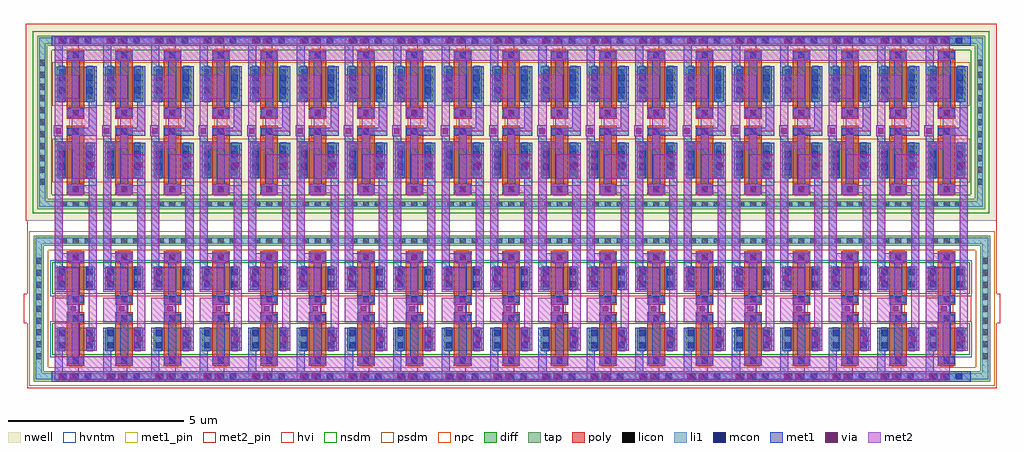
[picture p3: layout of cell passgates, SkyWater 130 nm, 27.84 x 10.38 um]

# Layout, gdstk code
import gdstk
lib = gdstk.Library(unit=1e-6, precision=1e-09)
def R(c, l, rs):  # rectangles x0, y0, x1, y1
    for r in rs: c.add(gdstk.rectangle(r[:2], r[2:], *l))
def A(c, l, x, y, w, h, nx, ny, dx, dy):  # array of equal rectangles
    R(c, l, [(x+i*dx, y+j*dy, x+i*dx+w, y+j*dy+h) for i in range(nx) for j in range(ny)])
nwell = (64, 20)
diff = (65, 20)
tap = (65, 44)
poly = (66, 20)
licon = (66, 44)
li1 = (67, 20)
mcon = (67, 44)
met1_pin = (68, 16)
met1 = (68, 20)
via = (68, 44)
met2_pin = (69, 16)
met2 = (69, 20)
hvi = (75, 20)
nsdm = (93, 44)
psdm = (94, 20)
npc = (95, 20)
hvntm = (125, 20)

passgate_raw = lib.new_cell('passgate_raw')
R(passgate_raw, met1, [(0.59,0.21,1.42,0.44), (0.59,0.44,1.28,0.47), (0.59,0.47,0.82,1.715), (1.075,0.775,1.305,1.965), (1.56,1.065,1.79,1.095), (1.47,1.095,1.79,1.685), (1.56,1.685,1.79,1.715), (0.96,1.965,1.305,2.555), (1.075,2.555,1.305,3.6), (0.59,2.805,0.82,2.835), (1.56,2.805,1.79,6.045), (0.59,2.835,0.91,3.425), (0.59,3.425,0.82,7.17), (0.96,3.6,1.42,3.86), (0.96,5.505,1.42,5.825), (1.075,5.825,1.305,7.19), (1.5,6.045,1.79,6.07), (1.47,6.07,1.79,6.66), (1.56,6.66,1.79,6.99), (0.56,7.17,0.82,7.49), (1.075,7.19,1.79,7.42), (1.56,7.42,1.79,9.17), (0.96,7.715,1.42,7.975), (1.075,7.975,1.305,9.5), (0.59,8.165,0.82,9.76), (0.59,9.76,1.28,9.79), (0.59,9.79,1.42,10.02)])
R(passgate_raw, via, [(0.7,0.265,0.85,0.415), (1.02,0.265,1.17,0.415), (1.555,1.315,1.705,1.465), (1.045,2.185,1.195,2.335), (0.675,3.055,0.825,3.205), (1.115,3.655,1.265,3.805), (1.115,5.59,1.265,5.74), (1.555,6.29,1.705,6.44), (0.615,7.255,0.765,7.405), (1.115,7.77,1.265,7.92), (0.7,9.815,0.85,9.965), (1.02,9.815,1.17,9.965)])
R(passgate_raw, met2_pin, [(0.59,0.21,1.28,0.9), (0.59,1.875,1.28,2.565), (0.59,2.735,1.28,3.425), (1.1,5.965,1.79,6.655), (0.59,9.33,1.28,10.02)])
R(passgate_raw, met2, [(0.59,0.21,1.28,0.9), (1.47,1.065,1.79,1.715), (1.56,1.715,1.79,5.55), (0.59,1.875,1.28,2.565), (0.59,2.735,1.28,3.425), (0.96,3.57,1.42,3.615), (0.59,3.615,1.42,3.845), (0.59,3.845,0.82,6.8), (0.96,3.845,1.42,3.89), (0.96,5.505,1.42,5.55), (0.96,5.55,1.79,5.78), (0.96,5.78,1.42,5.825), (1.1,5.965,1.79,6.66), (0.59,6.8,1.305,7.03), (1.075,7.03,1.305,7.315), (0.56,7.17,0.82,7.49), (1.075,7.315,1.79,7.685), (0.59,7.49,0.82,8.245), (0.96,7.685,1.79,8.005), (0.59,8.245,1.28,8.935), (0.59,9.33,1.28,10.02)])
passgate_raw.add(gdstk.Label('EN', (0.935,2.22), layer=69, texttype=5))
passgate_raw.add(gdstk.Label('UA', (0.935,3.08), layer=69, texttype=5))
passgate_raw.add(gdstk.Label('UB', (1.445,6.31), layer=69, texttype=5))
passgate_raw.add(gdstk.Label('VDD', (0.935,9.675), layer=69, texttype=5))
passgate_raw.add(gdstk.Label('VSS', (0.935,0.555), layer=69, texttype=5))

transistor_quartet_bus_1 = lib.new_cell('transistor_quartet_bus_19')
R(transistor_quartet_bus_1, nwell, [(0,4.77,27.7,10.38)])
A(transistor_quartet_bus_1, diff, 0.89, 1.065, 1.08, 0.65, 19, 2, 1.38, 1.74)
A(transistor_quartet_bus_1, diff, 0.89, 5.985, 1.08, 1, 19, 2, 1.38, 2.18)
R(transistor_quartet_bus_1, tap, [(0.23,0.18,27.52,0.47), (0.23,0.47,0.52,4.05), (27.23,0.47,27.52,4.05), (0.23,4.05,27.52,4.34), (0.33,5.1,27.37,5.39), (0.33,5.39,0.62,9.76), (27.08,5.39,27.37,9.76), (0.33,9.76,27.37,10.05)])
A(transistor_quartet_bus_1, poly, 1.18, 0.625, 0.5, 1.53, 19, 2, 1.38, 1.74)
A(transistor_quartet_bus_1, poly, 1.18, 5.5, 0.5, 1.97, 19, 2, 1.38, 2.18)
A(transistor_quartet_bus_1, licon, 1.005, 0.24, 0.17, 0.17, 3, 2, 0.34, 3.87)
A(transistor_quartet_bus_1, licon, 2.385, 0.24, 0.17, 0.17, 3, 2, 0.34, 3.87)
A(transistor_quartet_bus_1, licon, 3.765, 0.24, 0.17, 0.17, 3, 2, 0.34, 3.87)
A(transistor_quartet_bus_1, licon, 5.145, 0.24, 0.17, 0.17, 3, 2, 0.34, 3.87)
A(transistor_quartet_bus_1, licon, 6.525, 0.24, 0.17, 0.17, 3, 2, 0.34, 3.87)
A(transistor_quartet_bus_1, licon, 7.905, 0.24, 0.17, 0.17, 3, 2, 0.34, 3.87)
A(transistor_quartet_bus_1, licon, 9.285, 0.24, 0.17, 0.17, 3, 2, 0.34, 3.87)
A(transistor_quartet_bus_1, licon, 10.665, 0.24, 0.17, 0.17, 3, 2, 0.34, 3.87)
A(transistor_quartet_bus_1, licon, 12.045, 0.24, 0.17, 0.17, 3, 2, 0.34, 3.87)
A(transistor_quartet_bus_1, licon, 13.425, 0.24, 0.17, 0.17, 3, 2, 0.34, 3.87)
A(transistor_quartet_bus_1, licon, 14.805, 0.24, 0.17, 0.17, 3, 2, 0.34, 3.87)
A(transistor_quartet_bus_1, licon, 16.185, 0.24, 0.17, 0.17, 3, 2, 0.34, 3.87)
A(transistor_quartet_bus_1, licon, 17.565, 0.24, 0.17, 0.17, 3, 2, 0.34, 3.87)
A(transistor_quartet_bus_1, licon, 18.945, 0.24, 0.17, 0.17, 3, 2, 0.34, 3.87)
A(transistor_quartet_bus_1, licon, 20.325, 0.24, 0.17, 0.17, 3, 2, 0.34, 3.87)
A(transistor_quartet_bus_1, licon, 21.705, 0.24, 0.17, 0.17, 3, 2, 0.34, 3.87)
A(transistor_quartet_bus_1, licon, 23.085, 0.24, 0.17, 0.17, 3, 2, 0.34, 3.87)
A(transistor_quartet_bus_1, licon, 24.465, 0.24, 0.17, 0.17, 3, 2, 0.34, 3.87)
A(transistor_quartet_bus_1, licon, 25.845, 0.24, 0.17, 0.17, 3, 2, 0.34, 3.87)
A(transistor_quartet_bus_1, licon, 1.345, 0.705, 0.17, 0.17, 19, 2, 1.38, 1.2)
A(transistor_quartet_bus_1, licon, 0.29, 0.815, 0.17, 0.17, 1, 9, 0, 0.34)
A(transistor_quartet_bus_1, licon, 27.29, 0.815, 0.17, 0.17, 1, 9, 0, 0.34)
A(transistor_quartet_bus_1, licon, 1.345, 2.445, 0.17, 0.17, 19, 2, 1.38, 1.2)
A(transistor_quartet_bus_1, licon, 1.005, 5.16, 0.17, 0.17, 3, 2, 0.34, 4.66)
A(transistor_quartet_bus_1, licon, 2.385, 5.16, 0.17, 0.17, 3, 2, 0.34, 4.66)
A(transistor_quartet_bus_1, licon, 3.765, 5.16, 0.17, 0.17, 3, 2, 0.34, 4.66)
A(transistor_quartet_bus_1, licon, 5.145, 5.16, 0.17, 0.17, 3, 2, 0.34, 4.66)
A(transistor_quartet_bus_1, licon, 6.525, 5.16, 0.17, 0.17, 3, 2, 0.34, 4.66)
A(transistor_quartet_bus_1, licon, 7.905, 5.16, 0.17, 0.17, 3, 2, 0.34, 4.66)
A(transistor_quartet_bus_1, licon, 9.285, 5.16, 0.17, 0.17, 3, 2, 0.34, 4.66)
A(transistor_quartet_bus_1, licon, 10.665, 5.16, 0.17, 0.17, 3, 2, 0.34, 4.66)
A(transistor_quartet_bus_1, licon, 12.045, 5.16, 0.17, 0.17, 3, 2, 0.34, 4.66)
A(transistor_quartet_bus_1, licon, 13.425, 5.16, 0.17, 0.17, 3, 2, 0.34, 4.66)
A(transistor_quartet_bus_1, licon, 14.805, 5.16, 0.17, 0.17, 3, 2, 0.34, 4.66)
A(transistor_quartet_bus_1, licon, 16.185, 5.16, 0.17, 0.17, 3, 2, 0.34, 4.66)
A(transistor_quartet_bus_1, licon, 17.565, 5.16, 0.17, 0.17, 3, 2, 0.34, 4.66)
A(transistor_quartet_bus_1, licon, 18.945, 5.16, 0.17, 0.17, 3, 2, 0.34, 4.66)
A(transistor_quartet_bus_1, licon, 20.325, 5.16, 0.17, 0.17, 3, 2, 0.34, 4.66)
A(transistor_quartet_bus_1, licon, 21.705, 5.16, 0.17, 0.17, 3, 2, 0.34, 4.66)
A(transistor_quartet_bus_1, licon, 23.085, 5.16, 0.17, 0.17, 3, 2, 0.34, 4.66)
A(transistor_quartet_bus_1, licon, 24.465, 5.16, 0.17, 0.17, 3, 2, 0.34, 4.66)
A(transistor_quartet_bus_1, licon, 25.845, 5.16, 0.17, 0.17, 3, 2, 0.34, 4.66)
A(transistor_quartet_bus_1, licon, 1.345, 5.58, 0.17, 0.17, 19, 2, 1.38, 1.64)
A(transistor_quartet_bus_1, licon, 0.39, 5.79, 0.17, 0.17, 1, 11, 0, 0.34)
A(transistor_quartet_bus_1, licon, 27.14, 5.79, 0.17, 0.17, 1, 11, 0, 0.34)
A(transistor_quartet_bus_1, licon, 0.95, 6.06, 0.17, 0.17, 1, 3, 0, 0.34)
A(transistor_quartet_bus_1, licon, 1.74, 6.06, 0.17, 0.17, 1, 3, 0, 0.34)
A(transistor_quartet_bus_1, licon, 2.33, 6.06, 0.17, 0.17, 1, 3, 0, 0.34)
A(transistor_quartet_bus_1, licon, 3.12, 6.06, 0.17, 0.17, 1, 3, 0, 0.34)
A(transistor_quartet_bus_1, licon, 3.71, 6.06, 0.17, 0.17, 1, 3, 0, 0.34)
A(transistor_quartet_bus_1, licon, 4.5, 6.06, 0.17, 0.17, 1, 3, 0, 0.34)
A(transistor_quartet_bus_1, licon, 5.09, 6.06, 0.17, 0.17, 1, 3, 0, 0.34)
A(transistor_quartet_bus_1, licon, 5.88, 6.06, 0.17, 0.17, 1, 3, 0, 0.34)
A(transistor_quartet_bus_1, licon, 6.47, 6.06, 0.17, 0.17, 1, 3, 0, 0.34)
A(transistor_quartet_bus_1, licon, 7.26, 6.06, 0.17, 0.17, 1, 3, 0, 0.34)
A(transistor_quartet_bus_1, licon, 7.85, 6.06, 0.17, 0.17, 1, 3, 0, 0.34)
A(transistor_quartet_bus_1, licon, 8.64, 6.06, 0.17, 0.17, 1, 3, 0, 0.34)
A(transistor_quartet_bus_1, licon, 9.23, 6.06, 0.17, 0.17, 1, 3, 0, 0.34)
A(transistor_quartet_bus_1, licon, 10.02, 6.06, 0.17, 0.17, 1, 3, 0, 0.34)
A(transistor_quartet_bus_1, licon, 10.61, 6.06, 0.17, 0.17, 1, 3, 0, 0.34)
A(transistor_quartet_bus_1, licon, 11.4, 6.06, 0.17, 0.17, 1, 3, 0, 0.34)
A(transistor_quartet_bus_1, licon, 11.99, 6.06, 0.17, 0.17, 1, 3, 0, 0.34)
A(transistor_quartet_bus_1, licon, 12.78, 6.06, 0.17, 0.17, 1, 3, 0, 0.34)
A(transistor_quartet_bus_1, licon, 13.37, 6.06, 0.17, 0.17, 1, 3, 0, 0.34)
A(transistor_quartet_bus_1, licon, 14.16, 6.06, 0.17, 0.17, 1, 3, 0, 0.34)
A(transistor_quartet_bus_1, licon, 14.75, 6.06, 0.17, 0.17, 1, 3, 0, 0.34)
A(transistor_quartet_bus_1, licon, 15.54, 6.06, 0.17, 0.17, 1, 3, 0, 0.34)
A(transistor_quartet_bus_1, licon, 16.13, 6.06, 0.17, 0.17, 1, 3, 0, 0.34)
A(transistor_quartet_bus_1, licon, 16.92, 6.06, 0.17, 0.17, 1, 3, 0, 0.34)
A(transistor_quartet_bus_1, licon, 17.51, 6.06, 0.17, 0.17, 1, 3, 0, 0.34)
A(transistor_quartet_bus_1, licon, 18.3, 6.06, 0.17, 0.17, 1, 3, 0, 0.34)
A(transistor_quartet_bus_1, licon, 18.89, 6.06, 0.17, 0.17, 1, 3, 0, 0.34)
A(transistor_quartet_bus_1, licon, 19.68, 6.06, 0.17, 0.17, 1, 3, 0, 0.34)
A(transistor_quartet_bus_1, licon, 20.27, 6.06, 0.17, 0.17, 1, 3, 0, 0.34)
A(transistor_quartet_bus_1, licon, 21.06, 6.06, 0.17, 0.17, 1, 3, 0, 0.34)
A(transistor_quartet_bus_1, licon, 21.65, 6.06, 0.17, 0.17, 1, 3, 0, 0.34)
A(transistor_quartet_bus_1, licon, 22.44, 6.06, 0.17, 0.17, 1, 3, 0, 0.34)
A(transistor_quartet_bus_1, licon, 23.03, 6.06, 0.17, 0.17, 1, 3, 0, 0.34)
A(transistor_quartet_bus_1, licon, 23.82, 6.06, 0.17, 0.17, 1, 3, 0, 0.34)
A(transistor_quartet_bus_1, licon, 24.41, 6.06, 0.17, 0.17, 1, 3, 0, 0.34)
A(transistor_quartet_bus_1, licon, 25.2, 6.06, 0.17, 0.17, 1, 3, 0, 0.34)
A(transistor_quartet_bus_1, licon, 25.79, 6.06, 0.17, 0.17, 1, 3, 0, 0.34)
A(transistor_quartet_bus_1, licon, 26.58, 6.06, 0.17, 0.17, 1, 3, 0, 0.34)
A(transistor_quartet_bus_1, licon, 1.345, 7.76, 0.17, 0.17, 19, 2, 1.38, 1.64)
A(transistor_quartet_bus_1, licon, 0.95, 8.24, 0.17, 0.17, 1, 3, 0, 0.34)
A(transistor_quartet_bus_1, licon, 1.74, 8.24, 0.17, 0.17, 1, 3, 0, 0.34)
A(transistor_quartet_bus_1, licon, 2.33, 8.24, 0.17, 0.17, 1, 3, 0, 0.34)
A(transistor_quartet_bus_1, licon, 3.12, 8.24, 0.17, 0.17, 1, 3, 0, 0.34)
A(transistor_quartet_bus_1, licon, 3.71, 8.24, 0.17, 0.17, 1, 3, 0, 0.34)
A(transistor_quartet_bus_1, licon, 4.5, 8.24, 0.17, 0.17, 1, 3, 0, 0.34)
A(transistor_quartet_bus_1, licon, 5.09, 8.24, 0.17, 0.17, 1, 3, 0, 0.34)
A(transistor_quartet_bus_1, licon, 5.88, 8.24, 0.17, 0.17, 1, 3, 0, 0.34)
A(transistor_quartet_bus_1, licon, 6.47, 8.24, 0.17, 0.17, 1, 3, 0, 0.34)
A(transistor_quartet_bus_1, licon, 7.26, 8.24, 0.17, 0.17, 1, 3, 0, 0.34)
A(transistor_quartet_bus_1, licon, 7.85, 8.24, 0.17, 0.17, 1, 3, 0, 0.34)
A(transistor_quartet_bus_1, licon, 8.64, 8.24, 0.17, 0.17, 1, 3, 0, 0.34)
A(transistor_quartet_bus_1, licon, 9.23, 8.24, 0.17, 0.17, 1, 3, 0, 0.34)
A(transistor_quartet_bus_1, licon, 10.02, 8.24, 0.17, 0.17, 1, 3, 0, 0.34)
A(transistor_quartet_bus_1, licon, 10.61, 8.24, 0.17, 0.17, 1, 3, 0, 0.34)
A(transistor_quartet_bus_1, licon, 11.4, 8.24, 0.17, 0.17, 1, 3, 0, 0.34)
A(transistor_quartet_bus_1, licon, 11.99, 8.24, 0.17, 0.17, 1, 3, 0, 0.34)
A(transistor_quartet_bus_1, licon, 12.78, 8.24, 0.17, 0.17, 1, 3, 0, 0.34)
A(transistor_quartet_bus_1, licon, 13.37, 8.24, 0.17, 0.17, 1, 3, 0, 0.34)
A(transistor_quartet_bus_1, licon, 14.16, 8.24, 0.17, 0.17, 1, 3, 0, 0.34)
A(transistor_quartet_bus_1, licon, 14.75, 8.24, 0.17, 0.17, 1, 3, 0, 0.34)
A(transistor_quartet_bus_1, licon, 15.54, 8.24, 0.17, 0.17, 1, 3, 0, 0.34)
A(transistor_quartet_bus_1, licon, 16.13, 8.24, 0.17, 0.17, 1, 3, 0, 0.34)
A(transistor_quartet_bus_1, licon, 16.92, 8.24, 0.17, 0.17, 1, 3, 0, 0.34)
A(transistor_quartet_bus_1, licon, 17.51, 8.24, 0.17, 0.17, 1, 3, 0, 0.34)
A(transistor_quartet_bus_1, licon, 18.3, 8.24, 0.17, 0.17, 1, 3, 0, 0.34)
A(transistor_quartet_bus_1, licon, 18.89, 8.24, 0.17, 0.17, 1, 3, 0, 0.34)
A(transistor_quartet_bus_1, licon, 19.68, 8.24, 0.17, 0.17, 1, 3, 0, 0.34)
A(transistor_quartet_bus_1, licon, 20.27, 8.24, 0.17, 0.17, 1, 3, 0, 0.34)
A(transistor_quartet_bus_1, licon, 21.06, 8.24, 0.17, 0.17, 1, 3, 0, 0.34)
A(transistor_quartet_bus_1, licon, 21.65, 8.24, 0.17, 0.17, 1, 3, 0, 0.34)
A(transistor_quartet_bus_1, licon, 22.44, 8.24, 0.17, 0.17, 1, 3, 0, 0.34)
A(transistor_quartet_bus_1, licon, 23.03, 8.24, 0.17, 0.17, 1, 3, 0, 0.34)
A(transistor_quartet_bus_1, licon, 23.82, 8.24, 0.17, 0.17, 1, 3, 0, 0.34)
A(transistor_quartet_bus_1, licon, 24.41, 8.24, 0.17, 0.17, 1, 3, 0, 0.34)
A(transistor_quartet_bus_1, licon, 25.2, 8.24, 0.17, 0.17, 1, 3, 0, 0.34)
A(transistor_quartet_bus_1, licon, 25.79, 8.24, 0.17, 0.17, 1, 3, 0, 0.34)
A(transistor_quartet_bus_1, licon, 26.58, 8.24, 0.17, 0.17, 1, 3, 0, 0.34)
R(transistor_quartet_bus_1, licon, [(0.95,1.135,1.12,1.305), (1.74,1.135,1.91,1.305), (2.33,1.135,2.5,1.305), (3.12,1.135,3.29,1.305), (3.71,1.135,3.88,1.305), (4.5,1.135,4.67,1.305), (5.09,1.135,5.26,1.305), (5.88,1.135,6.05,1.305), (6.47,1.135,6.64,1.305), (7.26,1.135,7.43,1.305), (7.85,1.135,8.02,1.305), (8.64,1.135,8.81,1.305), (9.23,1.135,9.4,1.305), (10.02,1.135,10.19,1.305), (10.61,1.135,10.78,1.305), (11.4,1.135,11.57,1.305), (11.99,1.135,12.16,1.305), (12.78,1.135,12.95,1.305), (13.37,1.135,13.54,1.305), (14.16,1.135,14.33,1.305), (14.75,1.135,14.92,1.305), (15.54,1.135,15.71,1.305), (16.13,1.135,16.3,1.305), (16.92,1.135,17.09,1.305), (17.51,1.135,17.68,1.305), (18.3,1.135,18.47,1.305), (18.89,1.135,19.06,1.305), (19.68,1.135,19.85,1.305), (20.27,1.135,20.44,1.305), (21.06,1.135,21.23,1.305), (21.65,1.135,21.82,1.305), (22.44,1.135,22.61,1.305), (23.03,1.135,23.2,1.305), (23.82,1.135,23.99,1.305), (24.41,1.135,24.58,1.305), (25.2,1.135,25.37,1.305), (25.79,1.135,25.96,1.305), (26.58,1.135,26.75,1.305), (0.95,1.475,1.12,1.645), (1.74,1.475,1.91,1.645), (2.33,1.475,2.5,1.645), (3.12,1.475,3.29,1.645), (3.71,1.475,3.88,1.645), (4.5,1.475,4.67,1.645), (5.09,1.475,5.26,1.645), (5.88,1.475,6.05,1.645), (6.47,1.475,6.64,1.645), (7.26,1.475,7.43,1.645), (7.85,1.475,8.02,1.645), (8.64,1.475,8.81,1.645), (9.23,1.475,9.4,1.645), (10.02,1.475,10.19,1.645), (10.61,1.475,10.78,1.645), (11.4,1.475,11.57,1.645), (11.99,1.475,12.16,1.645), (12.78,1.475,12.95,1.645), (13.37,1.475,13.54,1.645), (14.16,1.475,14.33,1.645), (14.75,1.475,14.92,1.645), (15.54,1.475,15.71,1.645), (16.13,1.475,16.3,1.645), (16.92,1.475,17.09,1.645), (17.51,1.475,17.68,1.645), (18.3,1.475,18.47,1.645), (18.89,1.475,19.06,1.645), (19.68,1.475,19.85,1.645), (20.27,1.475,20.44,1.645), (21.06,1.475,21.23,1.645), (21.65,1.475,21.82,1.645), (22.44,1.475,22.61,1.645), (23.03,1.475,23.2,1.645), (23.82,1.475,23.99,1.645), (24.41,1.475,24.58,1.645), (25.2,1.475,25.37,1.645), (25.79,1.475,25.96,1.645), (26.58,1.475,26.75,1.645), (0.95,2.875,1.12,3.045), (1.74,2.875,1.91,3.045), (2.33,2.875,2.5,3.045), (3.12,2.875,3.29,3.045), (3.71,2.875,3.88,3.045), (4.5,2.875,4.67,3.045), (5.09,2.875,5.26,3.045), (5.88,2.875,6.05,3.045), (6.47,2.875,6.64,3.045), (7.26,2.875,7.43,3.045), (7.85,2.875,8.02,3.045), (8.64,2.875,8.81,3.045), (9.23,2.875,9.4,3.045), (10.02,2.875,10.19,3.045), (10.61,2.875,10.78,3.045), (11.4,2.875,11.57,3.045), (11.99,2.875,12.16,3.045), (12.78,2.875,12.95,3.045), (13.37,2.875,13.54,3.045), (14.16,2.875,14.33,3.045), (14.75,2.875,14.92,3.045), (15.54,2.875,15.71,3.045), (16.13,2.875,16.3,3.045), (16.92,2.875,17.09,3.045), (17.51,2.875,17.68,3.045), (18.3,2.875,18.47,3.045), (18.89,2.875,19.06,3.045), (19.68,2.875,19.85,3.045), (20.27,2.875,20.44,3.045), (21.06,2.875,21.23,3.045), (21.65,2.875,21.82,3.045), (22.44,2.875,22.61,3.045), (23.03,2.875,23.2,3.045), (23.82,2.875,23.99,3.045), (24.41,2.875,24.58,3.045), (25.2,2.875,25.37,3.045), (25.79,2.875,25.96,3.045), (26.58,2.875,26.75,3.045), (0.95,3.215,1.12,3.385), (1.74,3.215,1.91,3.385), (2.33,3.215,2.5,3.385), (3.12,3.215,3.29,3.385), (3.71,3.215,3.88,3.385), (4.5,3.215,4.67,3.385), (5.09,3.215,5.26,3.385), (5.88,3.215,6.05,3.385), (6.47,3.215,6.64,3.385), (7.26,3.215,7.43,3.385), (7.85,3.215,8.02,3.385), (8.64,3.215,8.81,3.385), (9.23,3.215,9.4,3.385), (10.02,3.215,10.19,3.385), (10.61,3.215,10.78,3.385), (11.4,3.215,11.57,3.385), (11.99,3.215,12.16,3.385), (12.78,3.215,12.95,3.385), (13.37,3.215,13.54,3.385), (14.16,3.215,14.33,3.385), (14.75,3.215,14.92,3.385), (15.54,3.215,15.71,3.385), (16.13,3.215,16.3,3.385), (16.92,3.215,17.09,3.385), (17.51,3.215,17.68,3.385), (18.3,3.215,18.47,3.385), (18.89,3.215,19.06,3.385), (19.68,3.215,19.85,3.385), (20.27,3.215,20.44,3.385), (21.06,3.215,21.23,3.385), (21.65,3.215,21.82,3.385), (22.44,3.215,22.61,3.385), (23.03,3.215,23.2,3.385), (23.82,3.215,23.99,3.385), (24.41,3.215,24.58,3.385), (25.2,3.215,25.37,3.385), (25.79,3.215,25.96,3.385), (26.58,3.215,26.75,3.385)])
A(transistor_quartet_bus_1, li1, 1.18, 0.705, 0.5, 0.17, 19, 2, 1.38, 1.2)
A(transistor_quartet_bus_1, li1, 1.18, 2.445, 0.5, 0.17, 19, 2, 1.38, 1.2)
A(transistor_quartet_bus_1, li1, 1.18, 5.58, 0.5, 0.17, 19, 2, 1.38, 1.64)
A(transistor_quartet_bus_1, li1, 1.18, 7.76, 0.5, 0.17, 19, 2, 1.38, 1.64)
R(transistor_quartet_bus_1, li1, [(0.29,0.24,27.46,0.41), (0.29,0.41,0.46,4.11), (27.29,0.41,27.46,4.11), (0.95,1.045,1.12,1.735), (1.74,1.045,1.91,1.735), (2.33,1.045,2.5,1.735), (3.12,1.045,3.29,1.735), (3.71,1.045,3.88,1.735), (4.5,1.045,4.67,1.735), (5.09,1.045,5.26,1.735), (5.88,1.045,6.05,1.735), (6.47,1.045,6.64,1.735), (7.26,1.045,7.43,1.735), (7.85,1.045,8.02,1.735), (8.64,1.045,8.81,1.735), (9.23,1.045,9.4,1.735), (10.02,1.045,10.19,1.735), (10.61,1.045,10.78,1.735), (11.4,1.045,11.57,1.735), (11.99,1.045,12.16,1.735), (12.78,1.045,12.95,1.735), (13.37,1.045,13.54,1.735), (14.16,1.045,14.33,1.735), (14.75,1.045,14.92,1.735), (15.54,1.045,15.71,1.735), (16.13,1.045,16.3,1.735), (16.92,1.045,17.09,1.735), (17.51,1.045,17.68,1.735), (18.3,1.045,18.47,1.735), (18.89,1.045,19.06,1.735), (19.68,1.045,19.85,1.735), (20.27,1.045,20.44,1.735), (21.06,1.045,21.23,1.735), (21.65,1.045,21.82,1.735), (22.44,1.045,22.61,1.735), (23.03,1.045,23.2,1.735), (23.82,1.045,23.99,1.735), (24.41,1.045,24.58,1.735), (25.2,1.045,25.37,1.735), (25.79,1.045,25.96,1.735), (26.58,1.045,26.75,1.735), (0.95,2.785,1.12,3.475), (1.74,2.785,1.91,3.475), (2.33,2.785,2.5,3.475), (3.12,2.785,3.29,3.475), (3.71,2.785,3.88,3.475), (4.5,2.785,4.67,3.475), (5.09,2.785,5.26,3.475), (5.88,2.785,6.05,3.475), (6.47,2.785,6.64,3.475), (7.26,2.785,7.43,3.475), (7.85,2.785,8.02,3.475), (8.64,2.785,8.81,3.475), (9.23,2.785,9.4,3.475), (10.02,2.785,10.19,3.475), (10.61,2.785,10.78,3.475), (11.4,2.785,11.57,3.475), (11.99,2.785,12.16,3.475), (12.78,2.785,12.95,3.475), (13.37,2.785,13.54,3.475), (14.16,2.785,14.33,3.475), (14.75,2.785,14.92,3.475), (15.54,2.785,15.71,3.475), (16.13,2.785,16.3,3.475), (16.92,2.785,17.09,3.475), (17.51,2.785,17.68,3.475), (18.3,2.785,18.47,3.475), (18.89,2.785,19.06,3.475), (19.68,2.785,19.85,3.475), (20.27,2.785,20.44,3.475), (21.06,2.785,21.23,3.475), (21.65,2.785,21.82,3.475), (22.44,2.785,22.61,3.475), (23.03,2.785,23.2,3.475), (23.82,2.785,23.99,3.475), (24.41,2.785,24.58,3.475), (25.2,2.785,25.37,3.475), (25.79,2.785,25.96,3.475), (26.58,2.785,26.75,3.475), (0.29,4.11,27.46,4.28), (0.39,5.16,27.31,5.33), (0.39,5.33,0.56,9.82), (27.14,5.33,27.31,9.82), (0.95,5.965,1.12,7.005), (1.74,5.965,1.91,7.005), (2.33,5.965,2.5,7.005), (3.12,5.965,3.29,7.005), (3.71,5.965,3.88,7.005), (4.5,5.965,4.67,7.005), (5.09,5.965,5.26,7.005), (5.88,5.965,6.05,7.005), (6.47,5.965,6.64,7.005), (7.26,5.965,7.43,7.005), (7.85,5.965,8.02,7.005), (8.64,5.965,8.81,7.005), (9.23,5.965,9.4,7.005), (10.02,5.965,10.19,7.005), (10.61,5.965,10.78,7.005), (11.4,5.965,11.57,7.005), (11.99,5.965,12.16,7.005), (12.78,5.965,12.95,7.005), (13.37,5.965,13.54,7.005), (14.16,5.965,14.33,7.005), (14.75,5.965,14.92,7.005), (15.54,5.965,15.71,7.005), (16.13,5.965,16.3,7.005), (16.92,5.965,17.09,7.005), (17.51,5.965,17.68,7.005), (18.3,5.965,18.47,7.005), (18.89,5.965,19.06,7.005), (19.68,5.965,19.85,7.005), (20.27,5.965,20.44,7.005), (21.06,5.965,21.23,7.005), (21.65,5.965,21.82,7.005), (22.44,5.965,22.61,7.005), (23.03,5.965,23.2,7.005), (23.82,5.965,23.99,7.005), (24.41,5.965,24.58,7.005), (25.2,5.965,25.37,7.005), (25.79,5.965,25.96,7.005), (26.58,5.965,26.75,7.005), (0.95,8.145,1.12,9.185), (1.74,8.145,1.91,9.185), (2.33,8.145,2.5,9.185), (3.12,8.145,3.29,9.185), (3.71,8.145,3.88,9.185), (4.5,8.145,4.67,9.185), (5.09,8.145,5.26,9.185), (5.88,8.145,6.05,9.185), (6.47,8.145,6.64,9.185), (7.26,8.145,7.43,9.185), (7.85,8.145,8.02,9.185), (8.64,8.145,8.81,9.185), (9.23,8.145,9.4,9.185), (10.02,8.145,10.19,9.185), (10.61,8.145,10.78,9.185), (11.4,8.145,11.57,9.185), (11.99,8.145,12.16,9.185), (12.78,8.145,12.95,9.185), (13.37,8.145,13.54,9.185), (14.16,8.145,14.33,9.185), (14.75,8.145,14.92,9.185), (15.54,8.145,15.71,9.185), (16.13,8.145,16.3,9.185), (16.92,8.145,17.09,9.185), (17.51,8.145,17.68,9.185), (18.3,8.145,18.47,9.185), (18.89,8.145,19.06,9.185), (19.68,8.145,19.85,9.185), (20.27,8.145,20.44,9.185), (21.06,8.145,21.23,9.185), (21.65,8.145,21.82,9.185), (22.44,8.145,22.61,9.185), (23.03,8.145,23.2,9.185), (23.82,8.145,23.99,9.185), (24.41,8.145,24.58,9.185), (25.2,8.145,25.37,9.185), (25.79,8.145,25.96,9.185), (26.58,8.145,26.75,9.185), (0.39,9.82,27.31,9.99)])
A(transistor_quartet_bus_1, mcon, 0.985, 0.24, 0.17, 0.17, 3, 2, 0.36, 9.58)
A(transistor_quartet_bus_1, mcon, 2.365, 0.24, 0.17, 0.17, 3, 2, 0.36, 9.58)
A(transistor_quartet_bus_1, mcon, 3.745, 0.24, 0.17, 0.17, 3, 2, 0.36, 9.58)
A(transistor_quartet_bus_1, mcon, 5.125, 0.24, 0.17, 0.17, 3, 2, 0.36, 9.58)
A(transistor_quartet_bus_1, mcon, 6.505, 0.24, 0.17, 0.17, 3, 2, 0.36, 9.58)
A(transistor_quartet_bus_1, mcon, 7.885, 0.24, 0.17, 0.17, 3, 2, 0.36, 9.58)
A(transistor_quartet_bus_1, mcon, 9.265, 0.24, 0.17, 0.17, 3, 2, 0.36, 9.58)
A(transistor_quartet_bus_1, mcon, 10.645, 0.24, 0.17, 0.17, 3, 2, 0.36, 9.58)
A(transistor_quartet_bus_1, mcon, 12.025, 0.24, 0.17, 0.17, 3, 2, 0.36, 9.58)
A(transistor_quartet_bus_1, mcon, 13.405, 0.24, 0.17, 0.17, 3, 2, 0.36, 9.58)
A(transistor_quartet_bus_1, mcon, 14.785, 0.24, 0.17, 0.17, 3, 2, 0.36, 9.58)
A(transistor_quartet_bus_1, mcon, 16.165, 0.24, 0.17, 0.17, 3, 2, 0.36, 9.58)
A(transistor_quartet_bus_1, mcon, 17.545, 0.24, 0.17, 0.17, 3, 2, 0.36, 9.58)
A(transistor_quartet_bus_1, mcon, 18.925, 0.24, 0.17, 0.17, 3, 2, 0.36, 9.58)
A(transistor_quartet_bus_1, mcon, 20.305, 0.24, 0.17, 0.17, 3, 2, 0.36, 9.58)
A(transistor_quartet_bus_1, mcon, 21.685, 0.24, 0.17, 0.17, 3, 2, 0.36, 9.58)
A(transistor_quartet_bus_1, mcon, 23.065, 0.24, 0.17, 0.17, 3, 2, 0.36, 9.58)
A(transistor_quartet_bus_1, mcon, 24.445, 0.24, 0.17, 0.17, 3, 2, 0.36, 9.58)
A(transistor_quartet_bus_1, mcon, 25.825, 0.24, 0.17, 0.17, 3, 2, 0.36, 9.58)
A(transistor_quartet_bus_1, mcon, 1.345, 0.705, 0.17, 0.17, 19, 2, 1.38, 1.2)
A(transistor_quartet_bus_1, mcon, 1.345, 2.445, 0.17, 0.17, 19, 2, 1.38, 1.2)
A(transistor_quartet_bus_1, mcon, 1.345, 5.58, 0.17, 0.17, 19, 2, 1.38, 1.64)
A(transistor_quartet_bus_1, mcon, 1.345, 7.76, 0.17, 0.17, 19, 2, 1.38, 1.64)
R(transistor_quartet_bus_1, mcon, [(0.95,1.125,1.12,1.295), (1.74,1.125,1.91,1.295), (2.33,1.125,2.5,1.295), (3.12,1.125,3.29,1.295), (3.71,1.125,3.88,1.295), (4.5,1.125,4.67,1.295), (5.09,1.125,5.26,1.295), (5.88,1.125,6.05,1.295), (6.47,1.125,6.64,1.295), (7.26,1.125,7.43,1.295), (7.85,1.125,8.02,1.295), (8.64,1.125,8.81,1.295), (9.23,1.125,9.4,1.295), (10.02,1.125,10.19,1.295), (10.61,1.125,10.78,1.295), (11.4,1.125,11.57,1.295), (11.99,1.125,12.16,1.295), (12.78,1.125,12.95,1.295), (13.37,1.125,13.54,1.295), (14.16,1.125,14.33,1.295), (14.75,1.125,14.92,1.295), (15.54,1.125,15.71,1.295), (16.13,1.125,16.3,1.295), (16.92,1.125,17.09,1.295), (17.51,1.125,17.68,1.295), (18.3,1.125,18.47,1.295), (18.89,1.125,19.06,1.295), (19.68,1.125,19.85,1.295), (20.27,1.125,20.44,1.295), (21.06,1.125,21.23,1.295), (21.65,1.125,21.82,1.295), (22.44,1.125,22.61,1.295), (23.03,1.125,23.2,1.295), (23.82,1.125,23.99,1.295), (24.41,1.125,24.58,1.295), (25.2,1.125,25.37,1.295), (25.79,1.125,25.96,1.295), (26.58,1.125,26.75,1.295), (0.95,1.485,1.12,1.655), (1.74,1.485,1.91,1.655), (2.33,1.485,2.5,1.655), (3.12,1.485,3.29,1.655), (3.71,1.485,3.88,1.655), (4.5,1.485,4.67,1.655), (5.09,1.485,5.26,1.655), (5.88,1.485,6.05,1.655), (6.47,1.485,6.64,1.655), (7.26,1.485,7.43,1.655), (7.85,1.485,8.02,1.655), (8.64,1.485,8.81,1.655), (9.23,1.485,9.4,1.655), (10.02,1.485,10.19,1.655), (10.61,1.485,10.78,1.655), (11.4,1.485,11.57,1.655), (11.99,1.485,12.16,1.655), (12.78,1.485,12.95,1.655), (13.37,1.485,13.54,1.655), (14.16,1.485,14.33,1.655), (14.75,1.485,14.92,1.655), (15.54,1.485,15.71,1.655), (16.13,1.485,16.3,1.655), (16.92,1.485,17.09,1.655), (17.51,1.485,17.68,1.655), (18.3,1.485,18.47,1.655), (18.89,1.485,19.06,1.655), (19.68,1.485,19.85,1.655), (20.27,1.485,20.44,1.655), (21.06,1.485,21.23,1.655), (21.65,1.485,21.82,1.655), (22.44,1.485,22.61,1.655), (23.03,1.485,23.2,1.655), (23.82,1.485,23.99,1.655), (24.41,1.485,24.58,1.655), (25.2,1.485,25.37,1.655), (25.79,1.485,25.96,1.655), (26.58,1.485,26.75,1.655), (0.95,2.865,1.12,3.035), (1.74,2.865,1.91,3.035), (2.33,2.865,2.5,3.035), (3.12,2.865,3.29,3.035), (3.71,2.865,3.88,3.035), (4.5,2.865,4.67,3.035), (5.09,2.865,5.26,3.035), (5.88,2.865,6.05,3.035), (6.47,2.865,6.64,3.035), (7.26,2.865,7.43,3.035), (7.85,2.865,8.02,3.035), (8.64,2.865,8.81,3.035), (9.23,2.865,9.4,3.035), (10.02,2.865,10.19,3.035), (10.61,2.865,10.78,3.035), (11.4,2.865,11.57,3.035), (11.99,2.865,12.16,3.035), (12.78,2.865,12.95,3.035), (13.37,2.865,13.54,3.035), (14.16,2.865,14.33,3.035), (14.75,2.865,14.92,3.035), (15.54,2.865,15.71,3.035), (16.13,2.865,16.3,3.035), (16.92,2.865,17.09,3.035), (17.51,2.865,17.68,3.035), (18.3,2.865,18.47,3.035), (18.89,2.865,19.06,3.035), (19.68,2.865,19.85,3.035), (20.27,2.865,20.44,3.035), (21.06,2.865,21.23,3.035), (21.65,2.865,21.82,3.035), (22.44,2.865,22.61,3.035), (23.03,2.865,23.2,3.035), (23.82,2.865,23.99,3.035), (24.41,2.865,24.58,3.035), (25.2,2.865,25.37,3.035), (25.79,2.865,25.96,3.035), (26.58,2.865,26.75,3.035), (0.95,3.225,1.12,3.395), (1.74,3.225,1.91,3.395), (2.33,3.225,2.5,3.395), (3.12,3.225,3.29,3.395), (3.71,3.225,3.88,3.395), (4.5,3.225,4.67,3.395), (5.09,3.225,5.26,3.395), (5.88,3.225,6.05,3.395), (6.47,3.225,6.64,3.395), (7.26,3.225,7.43,3.395), (7.85,3.225,8.02,3.395), (8.64,3.225,8.81,3.395), (9.23,3.225,9.4,3.395), (10.02,3.225,10.19,3.395), (10.61,3.225,10.78,3.395), (11.4,3.225,11.57,3.395), (11.99,3.225,12.16,3.395), (12.78,3.225,12.95,3.395), (13.37,3.225,13.54,3.395), (14.16,3.225,14.33,3.395), (14.75,3.225,14.92,3.395), (15.54,3.225,15.71,3.395), (16.13,3.225,16.3,3.395), (16.92,3.225,17.09,3.395), (17.51,3.225,17.68,3.395), (18.3,3.225,18.47,3.395), (18.89,3.225,19.06,3.395), (19.68,3.225,19.85,3.395), (20.27,3.225,20.44,3.395), (21.06,3.225,21.23,3.395), (21.65,3.225,21.82,3.395), (22.44,3.225,22.61,3.395), (23.03,3.225,23.2,3.395), (23.82,3.225,23.99,3.395), (24.41,3.225,24.58,3.395), (25.2,3.225,25.37,3.395), (25.79,3.225,25.96,3.395), (26.58,3.225,26.75,3.395), (0.95,6.22,1.12,6.39), (1.74,6.22,1.91,6.39), (2.33,6.22,2.5,6.39), (3.12,6.22,3.29,6.39), (3.71,6.22,3.88,6.39), (4.5,6.22,4.67,6.39), (5.09,6.22,5.26,6.39), (5.88,6.22,6.05,6.39), (6.47,6.22,6.64,6.39), (7.26,6.22,7.43,6.39), (7.85,6.22,8.02,6.39), (8.64,6.22,8.81,6.39), (9.23,6.22,9.4,6.39), (10.02,6.22,10.19,6.39), (10.61,6.22,10.78,6.39), (11.4,6.22,11.57,6.39), (11.99,6.22,12.16,6.39), (12.78,6.22,12.95,6.39), (13.37,6.22,13.54,6.39), (14.16,6.22,14.33,6.39), (14.75,6.22,14.92,6.39), (15.54,6.22,15.71,6.39), (16.13,6.22,16.3,6.39), (16.92,6.22,17.09,6.39), (17.51,6.22,17.68,6.39), (18.3,6.22,18.47,6.39), (18.89,6.22,19.06,6.39), (19.68,6.22,19.85,6.39), (20.27,6.22,20.44,6.39), (21.06,6.22,21.23,6.39), (21.65,6.22,21.82,6.39), (22.44,6.22,22.61,6.39), (23.03,6.22,23.2,6.39), (23.82,6.22,23.99,6.39), (24.41,6.22,24.58,6.39), (25.2,6.22,25.37,6.39), (25.79,6.22,25.96,6.39), (26.58,6.22,26.75,6.39), (0.95,6.58,1.12,6.75), (1.74,6.58,1.91,6.75), (2.33,6.58,2.5,6.75), (3.12,6.58,3.29,6.75), (3.71,6.58,3.88,6.75), (4.5,6.58,4.67,6.75), (5.09,6.58,5.26,6.75), (5.88,6.58,6.05,6.75), (6.47,6.58,6.64,6.75), (7.26,6.58,7.43,6.75), (7.85,6.58,8.02,6.75), (8.64,6.58,8.81,6.75), (9.23,6.58,9.4,6.75), (10.02,6.58,10.19,6.75), (10.61,6.58,10.78,6.75), (11.4,6.58,11.57,6.75), (11.99,6.58,12.16,6.75), (12.78,6.58,12.95,6.75), (13.37,6.58,13.54,6.75), (14.16,6.58,14.33,6.75), (14.75,6.58,14.92,6.75), (15.54,6.58,15.71,6.75), (16.13,6.58,16.3,6.75), (16.92,6.58,17.09,6.75), (17.51,6.58,17.68,6.75), (18.3,6.58,18.47,6.75), (18.89,6.58,19.06,6.75), (19.68,6.58,19.85,6.75), (20.27,6.58,20.44,6.75), (21.06,6.58,21.23,6.75), (21.65,6.58,21.82,6.75), (22.44,6.58,22.61,6.75), (23.03,6.58,23.2,6.75), (23.82,6.58,23.99,6.75), (24.41,6.58,24.58,6.75), (25.2,6.58,25.37,6.75), (25.79,6.58,25.96,6.75), (26.58,6.58,26.75,6.75), (0.95,8.4,1.12,8.57), (1.74,8.4,1.91,8.57), (2.33,8.4,2.5,8.57), (3.12,8.4,3.29,8.57), (3.71,8.4,3.88,8.57), (4.5,8.4,4.67,8.57), (5.09,8.4,5.26,8.57), (5.88,8.4,6.05,8.57), (6.47,8.4,6.64,8.57), (7.26,8.4,7.43,8.57), (7.85,8.4,8.02,8.57), (8.64,8.4,8.81,8.57), (9.23,8.4,9.4,8.57), (10.02,8.4,10.19,8.57), (10.61,8.4,10.78,8.57), (11.4,8.4,11.57,8.57), (11.99,8.4,12.16,8.57), (12.78,8.4,12.95,8.57), (13.37,8.4,13.54,8.57), (14.16,8.4,14.33,8.57), (14.75,8.4,14.92,8.57), (15.54,8.4,15.71,8.57), (16.13,8.4,16.3,8.57), (16.92,8.4,17.09,8.57), (17.51,8.4,17.68,8.57), (18.3,8.4,18.47,8.57), (18.89,8.4,19.06,8.57), (19.68,8.4,19.85,8.57), (20.27,8.4,20.44,8.57), (21.06,8.4,21.23,8.57), (21.65,8.4,21.82,8.57), (22.44,8.4,22.61,8.57), (23.03,8.4,23.2,8.57), (23.82,8.4,23.99,8.57), (24.41,8.4,24.58,8.57), (25.2,8.4,25.37,8.57), (25.79,8.4,25.96,8.57), (26.58,8.4,26.75,8.57), (0.95,8.76,1.12,8.93), (1.74,8.76,1.91,8.93), (2.33,8.76,2.5,8.93), (3.12,8.76,3.29,8.93), (3.71,8.76,3.88,8.93), (4.5,8.76,4.67,8.93), (5.09,8.76,5.26,8.93), (5.88,8.76,6.05,8.93), (6.47,8.76,6.64,8.93), (7.26,8.76,7.43,8.93), (7.85,8.76,8.02,8.93), (8.64,8.76,8.81,8.93), (9.23,8.76,9.4,8.93), (10.02,8.76,10.19,8.93), (10.61,8.76,10.78,8.93), (11.4,8.76,11.57,8.93), (11.99,8.76,12.16,8.93), (12.78,8.76,12.95,8.93), (13.37,8.76,13.54,8.93), (14.16,8.76,14.33,8.93), (14.75,8.76,14.92,8.93), (15.54,8.76,15.71,8.93), (16.13,8.76,16.3,8.93), (16.92,8.76,17.09,8.93), (17.51,8.76,17.68,8.93), (18.3,8.76,18.47,8.93), (18.89,8.76,19.06,8.93), (19.68,8.76,19.85,8.93), (20.27,8.76,20.44,8.93), (21.06,8.76,21.23,8.93), (21.65,8.76,21.82,8.93), (22.44,8.76,22.61,8.93), (23.03,8.76,23.2,8.93), (23.82,8.76,23.99,8.93), (24.41,8.76,24.58,8.93), (25.2,8.76,25.37,8.93), (25.79,8.76,25.96,8.93), (26.58,8.76,26.75,8.93)])
R(transistor_quartet_bus_1, met1_pin, [(0.74,0.18,26.96,0.47), (0.74,9.76,26.96,10.05)])
A(transistor_quartet_bus_1, met1, 1.2, 0.675, 0.46, 0.23, 19, 2, 1.38, 1.2)
A(transistor_quartet_bus_1, met1, 1.345, 0.905, 0.17, 0.97, 19, 2, 1.38, 1.74)
A(transistor_quartet_bus_1, met1, 1.2, 2.415, 0.46, 0.23, 19, 2, 1.38, 1.2)
A(transistor_quartet_bus_1, met1, 1.2, 5.55, 0.46, 0.23, 19, 2, 1.38, 1.64)
A(transistor_quartet_bus_1, met1, 1.345, 5.78, 0.17, 1.41, 19, 2, 1.38, 2.18)
A(transistor_quartet_bus_1, met1, 1.2, 7.73, 0.46, 0.23, 19, 2, 1.38, 1.64)
R(transistor_quartet_bus_1, met1, [(0.74,0.18,26.96,0.47), (0.92,1.065,1.15,1.715), (1.71,1.065,1.94,1.715), (2.3,1.065,2.53,1.715), (3.09,1.065,3.32,1.715), (3.68,1.065,3.91,1.715), (4.47,1.065,4.7,1.715), (5.06,1.065,5.29,1.715), (5.85,1.065,6.08,1.715), (6.44,1.065,6.67,1.715), (7.23,1.065,7.46,1.715), (7.82,1.065,8.05,1.715), (8.61,1.065,8.84,1.715), (9.2,1.065,9.43,1.715), (9.99,1.065,10.22,1.715), (10.58,1.065,10.81,1.715), (11.37,1.065,11.6,1.715), (11.96,1.065,12.19,1.715), (12.75,1.065,12.98,1.715), (13.34,1.065,13.57,1.715), (14.13,1.065,14.36,1.715), (14.72,1.065,14.95,1.715), (15.51,1.065,15.74,1.715), (16.1,1.065,16.33,1.715), (16.89,1.065,17.12,1.715), (17.48,1.065,17.71,1.715), (18.27,1.065,18.5,1.715), (18.86,1.065,19.09,1.715), (19.65,1.065,19.88,1.715), (20.24,1.065,20.47,1.715), (21.03,1.065,21.26,1.715), (21.62,1.065,21.85,1.715), (22.41,1.065,22.64,1.715), (23,1.065,23.23,1.715), (23.79,1.065,24.02,1.715), (24.38,1.065,24.61,1.715), (25.17,1.065,25.4,1.715), (25.76,1.065,25.99,1.715), (26.55,1.065,26.78,1.715), (0.92,2.805,1.15,3.455), (1.71,2.805,1.94,3.455), (2.3,2.805,2.53,3.455), (3.09,2.805,3.32,3.455), (3.68,2.805,3.91,3.455), (4.47,2.805,4.7,3.455), (5.06,2.805,5.29,3.455), (5.85,2.805,6.08,3.455), (6.44,2.805,6.67,3.455), (7.23,2.805,7.46,3.455), (7.82,2.805,8.05,3.455), (8.61,2.805,8.84,3.455), (9.2,2.805,9.43,3.455), (9.99,2.805,10.22,3.455), (10.58,2.805,10.81,3.455), (11.37,2.805,11.6,3.455), (11.96,2.805,12.19,3.455), (12.75,2.805,12.98,3.455), (13.34,2.805,13.57,3.455), (14.13,2.805,14.36,3.455), (14.72,2.805,14.95,3.455), (15.51,2.805,15.74,3.455), (16.1,2.805,16.33,3.455), (16.89,2.805,17.12,3.455), (17.48,2.805,17.71,3.455), (18.27,2.805,18.5,3.455), (18.86,2.805,19.09,3.455), (19.65,2.805,19.88,3.455), (20.24,2.805,20.47,3.455), (21.03,2.805,21.26,3.455), (21.62,2.805,21.85,3.455), (22.41,2.805,22.64,3.455), (23,2.805,23.23,3.455), (23.79,2.805,24.02,3.455), (24.38,2.805,24.61,3.455), (25.17,2.805,25.4,3.455), (25.76,2.805,25.99,3.455), (26.55,2.805,26.78,3.455), (0.92,5.985,1.15,6.985), (1.71,5.985,1.94,6.985), (2.3,5.985,2.53,6.985), (3.09,5.985,3.32,6.985), (3.68,5.985,3.91,6.985), (4.47,5.985,4.7,6.985), (5.06,5.985,5.29,6.985), (5.85,5.985,6.08,6.985), (6.44,5.985,6.67,6.985), (7.23,5.985,7.46,6.985), (7.82,5.985,8.05,6.985), (8.61,5.985,8.84,6.985), (9.2,5.985,9.43,6.985), (9.99,5.985,10.22,6.985), (10.58,5.985,10.81,6.985), (11.37,5.985,11.6,6.985), (11.96,5.985,12.19,6.985), (12.75,5.985,12.98,6.985), (13.34,5.985,13.57,6.985), (14.13,5.985,14.36,6.985), (14.72,5.985,14.95,6.985), (15.51,5.985,15.74,6.985), (16.1,5.985,16.33,6.985), (16.89,5.985,17.12,6.985), (17.48,5.985,17.71,6.985), (18.27,5.985,18.5,6.985), (18.86,5.985,19.09,6.985), (19.65,5.985,19.88,6.985), (20.24,5.985,20.47,6.985), (21.03,5.985,21.26,6.985), (21.62,5.985,21.85,6.985), (22.41,5.985,22.64,6.985), (23,5.985,23.23,6.985), (23.79,5.985,24.02,6.985), (24.38,5.985,24.61,6.985), (25.17,5.985,25.4,6.985), (25.76,5.985,25.99,6.985), (26.55,5.985,26.78,6.985), (0.92,8.165,1.15,9.165), (1.71,8.165,1.94,9.165), (2.3,8.165,2.53,9.165), (3.09,8.165,3.32,9.165), (3.68,8.165,3.91,9.165), (4.47,8.165,4.7,9.165), (5.06,8.165,5.29,9.165), (5.85,8.165,6.08,9.165), (6.44,8.165,6.67,9.165), (7.23,8.165,7.46,9.165), (7.82,8.165,8.05,9.165), (8.61,8.165,8.84,9.165), (9.2,8.165,9.43,9.165), (9.99,8.165,10.22,9.165), (10.58,8.165,10.81,9.165), (11.37,8.165,11.6,9.165), (11.96,8.165,12.19,9.165), (12.75,8.165,12.98,9.165), (13.34,8.165,13.57,9.165), (14.13,8.165,14.36,9.165), (14.72,8.165,14.95,9.165), (15.51,8.165,15.74,9.165), (16.1,8.165,16.33,9.165), (16.89,8.165,17.12,9.165), (17.48,8.165,17.71,9.165), (18.27,8.165,18.5,9.165), (18.86,8.165,19.09,9.165), (19.65,8.165,19.88,9.165), (20.24,8.165,20.47,9.165), (21.03,8.165,21.26,9.165), (21.62,8.165,21.85,9.165), (22.41,8.165,22.64,9.165), (23,8.165,23.23,9.165), (23.79,8.165,24.02,9.165), (24.38,8.165,24.61,9.165), (25.17,8.165,25.4,9.165), (25.76,8.165,25.99,9.165), (26.55,8.165,26.78,9.165), (0.74,9.76,26.96,10.05)])
R(transistor_quartet_bus_1, hvi, [(0.045,-0.005,27.705,1.84), (-0.045,1.84,27.795,1.9), (-0.045,1.9,0.795,2.62), (26.955,1.9,27.795,2.62), (-0.045,2.62,27.795,2.68), (0.045,2.68,27.705,4.525), (0.045,4.525,27.7,4.77), (0,4.77,27.7,10.38)])
R(transistor_quartet_bus_1, nsdm, [(0.765,0.94,26.935,1.84), (0.765,2.68,26.935,3.58), (0.205,4.975,27.495,5.515), (0.205,5.515,0.745,9.635), (26.955,5.515,27.495,9.635), (0.205,9.635,27.495,10.175)])
R(transistor_quartet_bus_1, psdm, [(0.105,0.055,27.645,0.595), (0.105,0.595,0.645,3.925), (27.105,0.595,27.645,3.925), (0.105,3.925,27.645,4.465), (0.765,5.86,26.935,7.11), (0.765,8.04,26.935,9.29)])
A(transistor_quartet_bus_1, npc, 1.245, 0.605, 0.37, 0.37, 19, 2, 1.38, 2.94)
A(transistor_quartet_bus_1, npc, 1.245, 1.805, 0.37, 0.91, 19, 2, 1.38, 5.315)
A(transistor_quartet_bus_1, npc, 1.245, 5.48, 0.37, 0.37, 19, 2, 1.38, 3.82)
R(transistor_quartet_bus_1, hvntm, [(0.705,0.88,26.995,1.9), (0.705,2.62,26.995,3.64)])
transistor_quartet_bus_1.add(gdstk.Label('VSS', (13.85,0.325), layer=68, texttype=5))
transistor_quartet_bus_1.add(gdstk.Label('VDD', (13.85,9.905), layer=68, texttype=5))

passgates = lib.new_cell('passgates')
A(passgates, met2, 2.26, 2.785, 0.59, 0.59, 17, 1, 1.38, 0)
A(passgates, met2, 2.77, 6.015, 0.59, 0.59, 17, 1, 1.38, 0)
R(passgates, met2, [(0.83,0.21,26.36,0.9), (0.83,0.9,1.52,3.425), (25.67,0.9,26.36,3.425), (1.34,5.965,2.03,8.005), (26.18,5.965,26.87,8.005), (0.83,9.33,26.36,10.02)])
passgates.add(gdstk.Reference(passgate_raw, (0.24,0)))
passgates.add(gdstk.Reference(passgate_raw, (1.62,0)))
passgates.add(gdstk.Reference(passgate_raw, (3,0)))
passgates.add(gdstk.Reference(passgate_raw, (4.38,0)))
passgates.add(gdstk.Reference(passgate_raw, (5.76,0)))
passgates.add(gdstk.Reference(passgate_raw, (7.14,0)))
passgates.add(gdstk.Reference(passgate_raw, (8.52,0)))
passgates.add(gdstk.Reference(passgate_raw, (9.9,0)))
passgates.add(gdstk.Reference(passgate_raw, (11.28,0)))
passgates.add(gdstk.Reference(passgate_raw, (12.66,0)))
passgates.add(gdstk.Reference(passgate_raw, (14.04,0)))
passgates.add(gdstk.Reference(passgate_raw, (15.42,0)))
passgates.add(gdstk.Reference(passgate_raw, (16.8,0)))
passgates.add(gdstk.Reference(passgate_raw, (18.18,0)))
passgates.add(gdstk.Reference(passgate_raw, (19.56,0)))
passgates.add(gdstk.Reference(passgate_raw, (20.94,0)))
passgates.add(gdstk.Reference(passgate_raw, (22.32,0)))
passgates.add(gdstk.Reference(passgate_raw, (23.7,0)))
passgates.add(gdstk.Reference(passgate_raw, (25.08,0)))
passgates.add(gdstk.Reference(transistor_quartet_bus_1, (0,0)))

lib.write_gds('passgates.gds')
